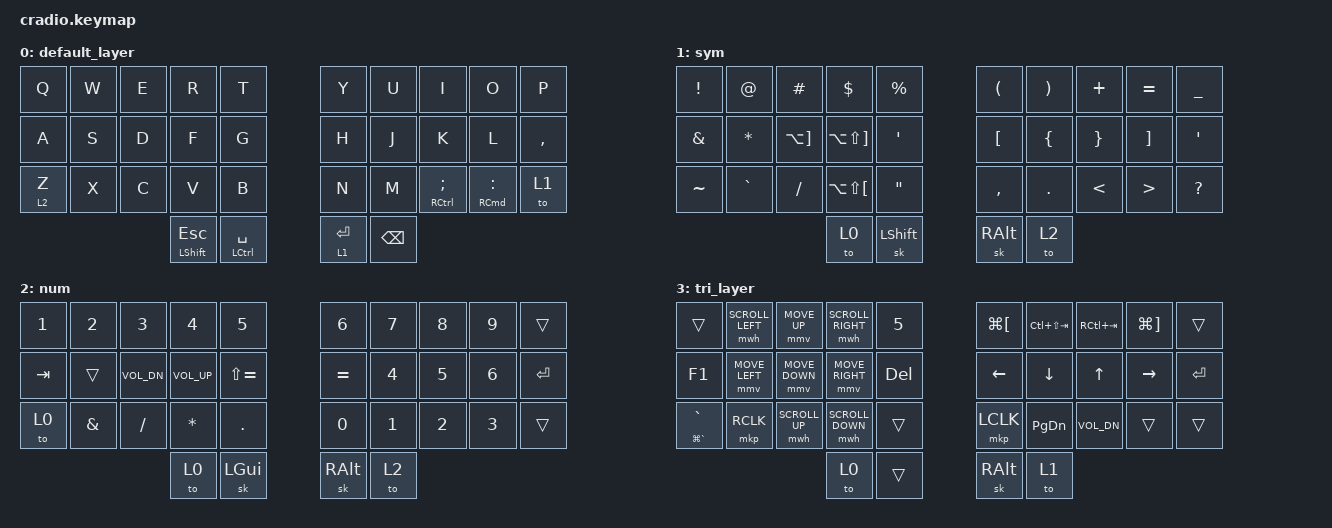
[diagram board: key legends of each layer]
/*
 * Copyright (c) 2020 The ZMK Contributors
 *
 * SPDX-License-Identifier: MIT
 */

#include <behaviors.dtsi>
#include <dt-bindings/zmk/keys.h>
#include <dt-bindings/zmk/mouse.h>

&mt {
    flavor = "tap-preferred";
    tapping_term_ms = <200>;
};

&mmv {
    time-to-max-speed-ms = <680>;
    acceleration-exponent = <2>;
};

/ {
    behaviors {
        hm: homerow_mods {
            compatible = "zmk,behavior-hold-tap";
            label = "HOMEROW_MODS";
            #binding-cells = <2>;
            tapping-term-ms = <200>;
            quick_tap_ms = <0>;
            flavor = "tap-preferred";
            bindings = <&kp>, <&kp>;
        };

        td: tapdance {
            compatible = "zmk,behavior-hold-tap";
            label = "TAPDANCE";
            #binding-cells = <2>;
            tapping-term-ms = <150>;
            quick_tap_ms = <0>;
            flavor = "tap-preferred";
            bindings = <&kp>, <&kp>;
        };
    };

    combos {
        compatible = "zmk,combos";

        parentesis {
            bindings = <&kp LEFT_PARENTHESIS>;
            key-positions = <27 28>;
        };

        single_quote {
            bindings = <&kp SINGLE_QUOTE>;
            key-positions = <1 2>;
        };

        tab {
            bindings = <&kp TAB>;
            key-positions = <0 1>;
        };
    };

    keymap {
        compatible = "zmk,keymap";

        default_layer {
            bindings = <
&kp Q    &kp W  &kp E  &kp R                  &kp T              &kp Y        &kp U          &kp I                &kp O                    &kp P
&kp A    &kp S  &kp D  &kp F                  &kp G              &kp H        &kp J          &kp K                &kp L                    &kp COMMA
&lt 2 Z  &kp X  &kp C  &kp V                  &kp B              &kp N        &kp M          &td RCTRL SEMICOLON  &td RIGHT_COMMAND COLON  &to 1
                       &mt LEFT_SHIFT ESCAPE  &mt LCTRL SPACE    &lt 1 ENTER  &kp BACKSPACE
            >;
        };

        sym {
            bindings = <
&kp EXCLAMATION  &kp AT        &kp HASH      &kp DLLR          &kp PRCNT     &kp LEFT_PARENTHESIS  &kp RIGHT_PARENTHESIS  &kp PLUS       &kp EQUAL          &kp UNDERSCORE
&kp AMPERSAND    &kp ASTERISK  &kp LA(RBKT)  &kp LA(LS(RBKT))  &kp SQT       &kp LEFT_BRACKET      &kp LBRC               &kp RBRC       &kp RIGHT_BRACKET  &kp SINGLE_QUOTE
&kp TILDE        &kp GRAVE     &kp SLASH     &kp LA(LS(LBKT))  &kp DQT       &kp COMMA             &kp DOT                &kp LESS_THAN  &kp GREATER_THAN   &kp QUESTION
                                             &to 0             &sk LSHIFT    &sk RALT              &to 2
            >;
        };

        num {
            bindings = <
&kp NUMBER_1  &kp NUMBER_2  &kp NUMBER_3  &kp NUMBER_4  &kp N5           &kp NUMBER_6  &kp N7  &kp N8  &kp N9  &trans
&kp TAB       &trans        &kp C_VOL_DN  &kp C_VOL_UP  &kp LS(EQUAL)    &kp EQUAL     &kp N4  &kp N5  &kp N6  &kp ENTER
&to 0         &kp AMPS      &kp SLASH     &kp STAR      &kp DOT          &kp N0        &kp N1  &kp N2  &kp N3  &trans
                                          &to 0         &sk LGUI         &sk RALT      &to 2
            >;
        };

        tri_layer {
            bindings = <
&trans               &mwh SCROLL_LEFT  &mmv MOVE_UP    &mwh SCROLL_RIGHT  &kp NUM_5    &kp LG(LBKT)  &kp LC(LS(TAB))  &kp RC(TAB)   &kp LG(RBKT)  &trans
&kp F1               &mmv MOVE_LEFT    &mmv MOVE_DOWN  &mmv MOVE_RIGHT    &kp DEL      &kp LEFT      &kp DOWN         &kp UP        &kp RIGHT     &kp ENTER
&td LG(GRAVE) GRAVE  &mkp RCLK         &mwh SCROLL_UP  &mwh SCROLL_DOWN   &trans       &mkp LCLK     &kp PG_DN        &kp K_VOL_DN  &trans        &trans
                                                       &to 0              &trans       &sk RALT      &to 1
            >;
        };
    };
};
